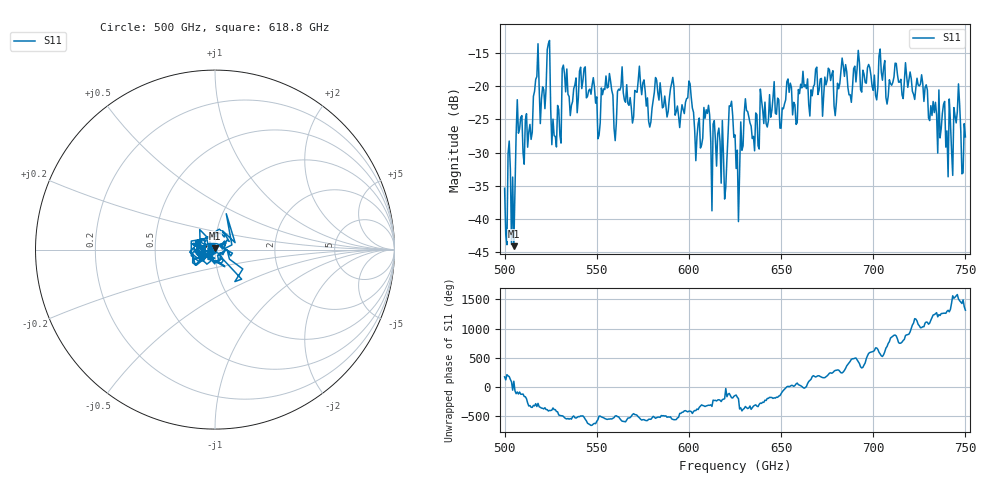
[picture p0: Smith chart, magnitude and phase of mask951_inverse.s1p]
!Created with skrf (http://scikit-rf.org).
# GHz S MA R 50.0
!freq magS11 angS11
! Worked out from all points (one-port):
!   401 points, 500 GHz to 750 GHz, reference 50 ohm
!   lowest |S11| = -44.1 dB at 505 GHz (marker M1), VSWR 1.01, Z = 50 + j0.622 ohm
!   |S11| at or under -10 dB: start of sweep to end of sweep
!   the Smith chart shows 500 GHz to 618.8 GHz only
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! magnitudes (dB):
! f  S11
! 500 GHz  -35.4
! 505 GHz  -44.1
! 507.5 GHz  -27.1
! 513.8 GHz  -25.7
! 516.9 GHz  -18.9
! 520.6 GHz  -20.1
! 523.8 GHz  -13.6
! 526.9 GHz  -27.4
! 531.2 GHz  -17.3
! 542.5 GHz  -19.1
! 550.6 GHz  -27.9
! 562.5 GHz  -20.6
! 590.6 GHz  -19.6
! 593.8 GHz  -23.0
! 609.4 GHz  -23.5
! 618.8 GHz  -30.4
! 622.5 GHz  -23.0
! 625 GHz  -27.3
! 626.2 GHz  -29.6
! 631.2 GHz  -23.7
! 636.9 GHz  -24.3
! 656.2 GHz  -24.3
! 676.9 GHz  -19.1
! 680 GHz  -22.4
! 683.8 GHz  -16.9
! 687.5 GHz  -21.3
! 718.8 GHz  -20.2
! 750 GHz  -27.6
